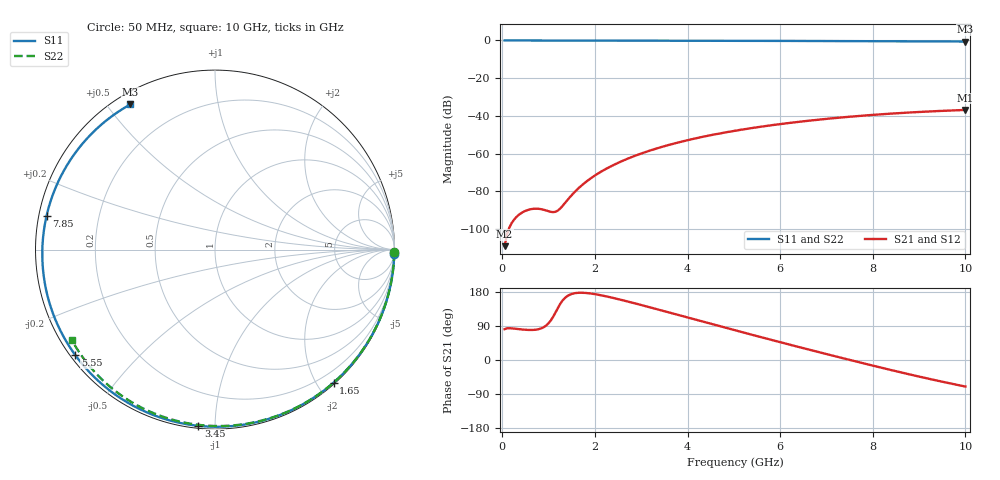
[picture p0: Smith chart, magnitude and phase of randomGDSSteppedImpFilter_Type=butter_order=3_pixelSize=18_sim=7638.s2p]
! freq	dB(S11)	phase(S11)	dB(S12)	phase(S12)
!  dB(S21)	phase(S21)	dB(S22)	phase(S22)
!S-par simulation data
#  GHz  S  DB  R 50
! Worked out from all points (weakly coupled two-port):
!   200 points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, 50 MHz to 10 GHz, reference 50 ohm
!   highest |S21| = -36.87 dB at 10 GHz (marker M1); lowest = -109.2 dB at 50 MHz (marker M2)
!   lowest |S11| = -0.6 dB at 10 GHz (marker M3), VSWR 30.46, Z = 2.18 + j28.7 ohm
!   |S11| at or under -10 dB: nowhere
!   |S22| runs from -0.5 to 0.0 dB; largest |S21 - S12| = 0
!   S11 on the Smith chart (normalised r, x): 50 MHz: 2, -79; 1.65 GHz: 0.02, -2.23; 3.45 GHz: 0.01, -0.91; 5.55 GHz: 0.01, -0.34; 7.85 GHz: 0.02, +0.10; 10 GHz: 0.04, +0.57
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0.05  -0.01 -1.4  -109.15 81.3  -109.15 81.3  -0.00 -0.8
0.4  -0.02 -12.0  -91.74 80.8  -91.74 80.8  -0.01 -6.8
0.75  -0.03 -22.3  -89.28 80.5  -89.28 80.5  -0.02 -12.7
1.55  -0.06 -45.5  -80.73 175.9  -80.73 175.9  -0.03 -26.1
1.6  -0.06 -46.9  -79.49 176.9  -79.49 176.9  -0.03 -26.9
1.65  -0.06 -48.3  -78.32 177.4  -78.32 177.4  -0.04 -27.7
1.75  -0.06 -51.1  -76.17 177.3  -76.17 177.3  -0.04 -29.4
2.05  -0.07 -59.3  -70.87 172.7  -70.87 172.7  -0.04 -34.3
2.45  -0.09 -70.1  -65.52 162.2  -65.52 162.2  -0.05 -40.8
2.9  -0.10 -81.7  -60.88 148.3  -60.88 148.3  -0.06 -48.0
3.4  -0.12 -94.2  -56.82 132.1  -56.82 132.1  -0.07 -55.8
3.45  -0.12 -95.4  -56.46 130.4  -56.46 130.4  -0.08 -56.6
4.2  -0.15 -113.1  -51.81 105.6  -51.81 105.6  -0.10 -68.0
5.05  -0.19 -132.1  -47.80 77.6  -47.80 77.6  -0.12 -80.6
5.55  -0.22 -142.9  -45.89 61.4  -45.89 61.4  -0.14 -87.8
6.15  -0.25 -155.6  -43.92 42.3  -43.92 42.3  -0.17 -96.2
6.7  -0.29 -167.1  -42.37 25.0  -42.37 25.0  -0.20 -103.8
7.3  -0.34 -179.6  -40.91 6.4  -40.91 6.4  -0.24 -112.0
7.85  -0.38 168.7  -39.78 -10.3  -39.78 -10.3  -0.28 -119.3
8.35  -0.42 158.0  -38.89 -25.2  -38.89 -25.2  -0.32 -125.9
9.15  -0.49 140.2  -37.76 -47.9  -37.76 -47.9  -0.40 -136.5
10  -0.57 120.3  -36.87 -70.0  -36.87 -70.0  -0.51 -147.8
